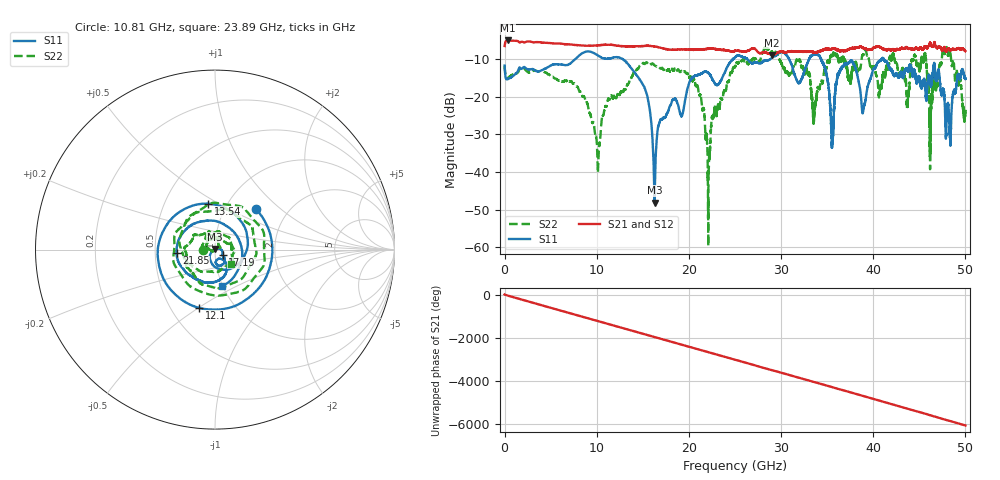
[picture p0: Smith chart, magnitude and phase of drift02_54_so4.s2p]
!Created with skrf (http://scikit-rf.org).
# Hz S RI R 50.0
!freq ReS11 ImS11 ReS21 ImS21 ReS12 ImS12 ReS22 ImS22
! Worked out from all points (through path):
!   10001 points, 300 kHz to 50 GHz, reference 50 ohm
!   highest |S21| = -5.04 dB at 320.3 MHz (marker M1); lowest = -8.9 dB at 28.98 GHz (marker M2)
!   group delay of S21, straight-line fit = 336 ps
!   lowest |S11| = -48.1 dB at 16.27 GHz (marker M3), VSWR 1.01, Z = 49.9 + j0.373 ohm
!   |S11| at or under -10 dB: start of sweep to 7.665 GHz; 12.81 GHz to 24.77 GHz (11.96 GHz wide, 63.6 % of centre); 41.13 GHz to end of sweep (the widest 3 of 12)
!   |S22| runs from -59.7 to -6.7 dB; largest |S21 - S12| = 0.03
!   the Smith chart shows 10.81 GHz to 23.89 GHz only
!   S11 on the Smith chart (normalised r, x): 10.81 GHz: 1.38, +0.70; 12.1 GHz: 0.69, -0.50; 13.54 GHz: 0.82, +0.45; 17.19 GHz: 1.09, -0.07; 21.85 GHz: 0.65, -0.03; 23.89 GHz: 0.99, -0.43
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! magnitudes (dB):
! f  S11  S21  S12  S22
! 300 kHz  -11.7  -6.5  -6.5  -11.7
! 320.3 MHz  -15.3  -5.0  -5.0  -15.1
! 8.335 GHz  -8.6  -6.4  -6.4  -19.1
! 10.11 GHz  -9.0  -6.3  -6.3  -38.9
! 10.81 GHz  -9.8  -6.2  -6.2  -23.6
! 12.1 GHz  -9.5  -6.4  -6.4  -20.3
! 13.54 GHz  -11.8  -6.6  -6.6  -16.0
! 16.27 GHz  -48.1  -6.6  -6.6  -11.7
! 16.67 GHz  -27.8  -6.8  -6.8  -12.2
! 17.19 GHz  -25.7  -7.2  -7.2  -12.6
! 21.85 GHz  -13.4  -7.3  -7.3  -30.4
! 23.89 GHz  -13.6  -7.6  -7.6  -18.4
! 25 GHz  -9.5  -7.8  -7.8  -12.1
! 28.98 GHz  -9.7  -8.9  -8.8  -8.0
! 33.34 GHz  -9.0  -8.0  -8.0  -20.0
! 35.55 GHz  -32.5  -7.2  -7.3  -9.2
! 36.78 GHz  -11.9  -7.8  -7.9  -9.7
! 41.67 GHz  -11.8  -7.3  -7.4  -12.3
! 45.49 GHz  -15.5  -7.1  -7.0  -9.8
! 46.26 GHz  -17.2  -6.2  -6.2  -22.0
! 48.12 GHz  -22.4  -7.2  -7.1  -9.1
! 50 GHz  -15.2  -7.9  -7.8  -23.5
